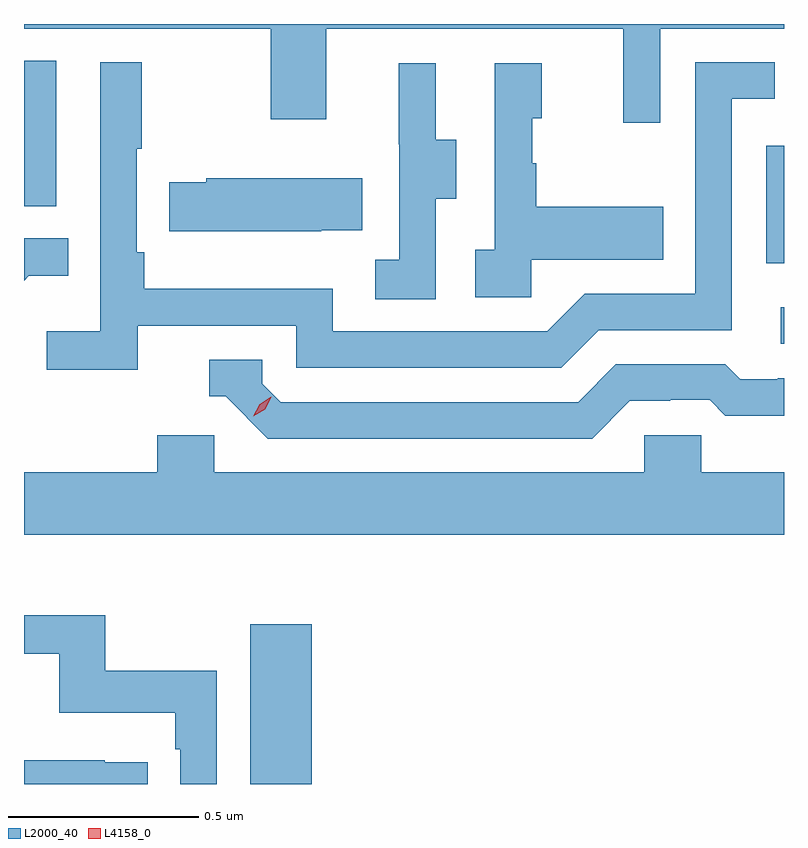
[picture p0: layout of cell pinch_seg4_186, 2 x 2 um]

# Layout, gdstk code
import gdstk
lib = gdstk.Library(unit=1e-6, precision=1e-09)
def R(c, l, rs):  # rectangles x0, y0, x1, y1
    for r in rs: c.add(gdstk.rectangle(r[:2], r[2:], *l))
def P(c, l, *ps):  # polygons
    for p in ps: c.add(gdstk.Polygon(p, *l))
L2000_40 = (2000, 40)
L4158_0 = (4158, 0)

pinch_seg4_186 = lib.new_cell('pinch_seg4_186')
R(pinch_seg4_186, L2000_40, [(1083.077,804.156,1083.238,804.577), (1084.473,805.314,1084.481,805.41), (1084.434,805.527,1084.481,805.836), (1082.481,805.677,1082.566,806.059)])
P(pinch_seg4_186, L2000_40, [(1084.155,806.144),(1084.481,806.144),(1084.481,806.156),(1082.481,806.156),(1082.481,806.144),(1083.13,806.144),(1083.13,805.905),(1083.277,805.905),(1083.277,806.144),(1084.058,806.144),(1084.058,805.896),(1084.155,805.896)],
  [(1082.78,805.362),(1083.198,805.362),(1083.198,805.251),(1083.895,805.251),(1083.994,805.35),(1084.344,805.35),(1084.344,805.959),(1084.457,805.959),(1084.457,806.055),(1084.248,806.055),(1084.248,805.446),(1083.957,805.446),(1083.858,805.347),(1083.294,805.347),(1083.294,805.459),(1082.798,805.459),(1082.798,805.555),(1082.778,805.555),(1082.778,805.828),(1082.791,805.828),(1082.791,806.056),(1082.682,806.056),(1082.682,805.348),(1082.541,805.348),(1082.541,805.246),(1082.78,805.246)],
  [(1083.816,805.535),(1084.163,805.535),(1084.163,805.675),(1083.829,805.675),(1083.829,805.79),(1083.819,805.79),(1083.819,805.908),(1083.844,805.908),(1083.844,806.053),(1083.72,806.053),(1083.72,805.562),(1083.669,805.562),(1083.669,805.437),(1083.816,805.437)],
  [(1083.564,805.696),(1083.619,805.696),(1083.619,805.851),(1083.565,805.851),(1083.565,806.053),(1083.467,806.053),(1083.467,805.839),(1083.468,805.839),(1083.468,805.535),(1083.405,805.535),(1083.405,805.432),(1083.564,805.432)],
  [(1083.263,805.613),(1083.371,805.613),(1083.371,805.75),(1082.961,805.75),(1082.961,805.74),(1082.863,805.74),(1082.863,805.61),(1083.263,805.61)],
  [(1082.493,805.493),(1082.597,805.493),(1082.597,805.592),(1082.481,805.592),(1082.481,805.481)],
  [(1084.075,805.164),(1084.182,805.164),(1084.182,805.167),(1084.285,805.167),(1084.327,805.125),(1084.481,805.125),(1084.481,805.224),(1084.465,805.224),(1084.465,805.221),(1084.366,805.221),(1084.327,805.26),(1084.038,805.26),(1083.939,805.161),(1083.156,805.161),(1083.108,805.209),(1083.108,805.272),(1082.969,805.272),(1082.969,805.176),(1083.012,805.176),(1083.123,805.065),(1083.976,805.065)],
  [(1084.481,804.976),(1084.263,804.976),(1084.263,805.074),(1084.113,805.074),(1084.113,804.976),(1082.982,804.976),(1082.982,805.074),(1082.831,805.074),(1082.831,804.976),(1082.481,804.976),(1082.481,804.812),(1084.481,804.812)],
  [(1082.988,804.454),(1082.695,804.454),(1082.695,804.6),(1082.481,804.6),(1082.481,804.499),(1082.574,804.499),(1082.574,804.344),(1082.879,804.344),(1082.879,804.248),(1082.892,804.248),(1082.892,804.156),(1082.988,804.156)],
  [(1082.806,804.213),(1082.693,804.213),(1082.693,804.218),(1082.481,804.218),(1082.481,804.156),(1082.806,804.156)])
P(pinch_seg4_186, L4158_0, [(1083.084,805.124),(1083.084,805.124),(1083.101,805.156),(1083.132,805.175),(1083.132,805.175),(1083.132,805.174),(1083.116,805.142),(1083.084,805.124)])

lib.write_gds('pinch_seg4_186.gds')
